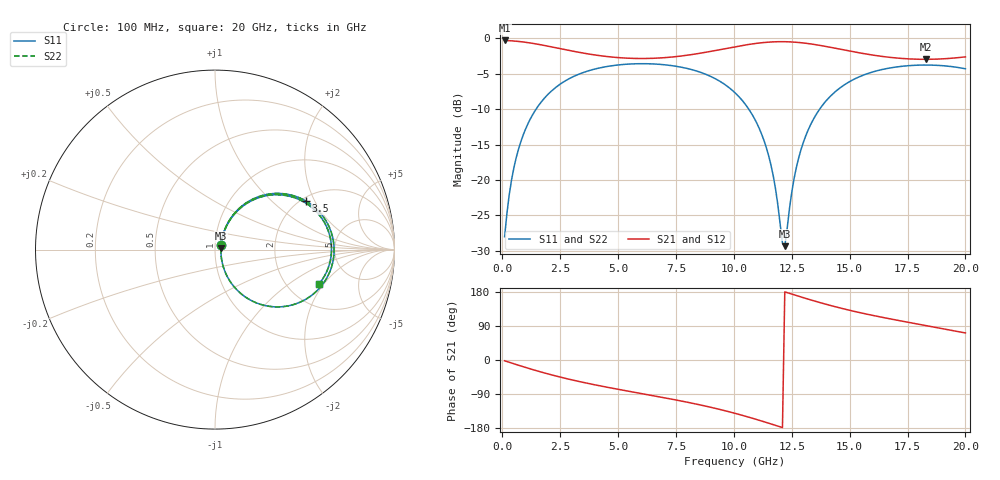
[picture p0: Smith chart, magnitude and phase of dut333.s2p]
! Touchstone file exported from HFSS 2026.1.0
!  File:  C:/ffzhzh/LocalFiles/Ansys_Project_Files/temp_train_TSV_RDL_333_1783033680_55676.aedt
!  Generated:  07:29:34 AM Jul  3, 2026
!  Design:  TSV_RDL
!  Project:  temp_train_TSV_RDL_333_1783033680_55676
! Variables:
!  h_bsmrdl = 2.34um
!  h_ox = 20um
!  h_rdl = 5um
!  h_sub = 69.7um
!  h_tmrdl = 4.4um
!  h_tsv = 69.7um
!  h_via = 3um
!  l_bsmrdl = 258.03um
!  l_sub = 5140.06um
!  l_tmrdl = 961.14um
!  m_sub = 200um
!  pitch = 59.6um
!  r_tsv = 2.29um
!  s_tmrdl = 10um
!  w_bsmrdl = 21.49um
!  w_sub = 500um
!  w_tmrdl = 18.98um
!  x_tsv_center1 = 970.63um
!  x_tsv_center2 = 1250.15um
!  x_tsv_center3 = 2230.27um
!  x_tsv_center4 = 2509.79um
!  x_tsv_center5 = 3489.91um
!  x_tsv_center6 = 3769.43um
# GHz S MA R 50.000000
! Terminal data exported
! Port[1] = TM_RDL1_1_T1
! Port[2] = TM_RDL5_1_T1
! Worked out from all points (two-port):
!   200 points, 100 MHz to 20 GHz, reference 50 ohm
!   highest |S21| = -0.28 dB at 100 MHz (marker M1); lowest = -2.9 dB at 18.3 GHz (marker M2)
!   |S21| within 3 dB of the highest: start of sweep to end of sweep
!   lowest |S11| = -29.3 dB at 12.2 GHz (marker M3), VSWR 1.07, Z = 53.4 + j0.812 ohm
!   |S11| at or under -10 dB: start of sweep to 1.457 GHz; 10.65 GHz to 13.7 GHz (3.056 GHz wide, 25.1 % of centre)
!   |S22| runs from -29.4 to -3.6 dB; largest |S21 - S12| = 1.4e-14
!   S11 on the Smith chart (normalised r, x): 100 MHz: 1.07, +0.05; 3.5 GHz: 2.13, +1.71; 20 GHz: 2.95, -1.79
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0.1  0.03979 35.9  0.9683 -2.0  0.9683 -2.0  0.03979 35.9
! Gamma 0 0 0 0
! Port Impedance 50 0 50 0
0.3  0.07884 59.4  0.9647 -6.1  0.9647 -6.1  0.07884 59.4
0.5  0.122 64.1  0.9596 -10.0  0.9596 -10.0  0.122 64.1
1.1  0.2483 60.7  0.9352 -21.4  0.9352 -21.4  0.2483 60.7
2.1  0.422 46.8  0.8741 -38.8  0.8741 -38.8  0.422 46.8
3.5  0.5751 28.0  0.7882 -59.2  0.7882 -59.2  0.5751 28.0
5.1  0.6525 9.6  0.7307 -78.5  0.7307 -78.5  0.6525 9.6
6.8  0.6565 -8.5  0.7282 -97.4  0.7282 -97.4  0.6565 -8.5
8.7  0.5659 -30.4  0.7945 -120.6  0.7945 -120.6  0.5659 -30.4
10.1  0.4062 -49.4  0.8765 -141.5  0.8765 -141.5  0.4062 -49.4
10.8  0.2885 -59.2  0.9156 -153.6  0.9156 -153.6  0.2885 -59.2
11.4  0.17 -65.4  0.9395 -164.8  0.9395 -164.8  0.17 -65.5
11.8  0.08679 -61.7  0.9479 -172.5  0.9479 -172.5  0.08669 -61.9
12.1  0.03576 -22.3  0.9494 -178.3  0.9494 -178.3  0.03553 -22.4
12.2  0.03411 12.9  0.949 179.8  0.949 179.8  0.03387 13.0
12.5  0.08181 58.9  0.945 174.0  0.945 174.0  0.08172 59.1
12.7  0.1227 63.4  0.9401 170.1  0.9401 170.1  0.1227 63.5
13.4  0.262 59.1  0.9112 157.1  0.9112 157.1  0.2619 59.2
14.7  0.462 41.4  0.8335 135.6  0.8335 135.6  0.462 41.5
16.7  0.6174 17.0  0.7368 109.1  0.7368 109.1  0.6174 17.1
18.3  0.6492 -0.0  0.7124 90.9  0.7124 90.9  0.6492 0.0
20  0.6109 -18.2  0.7416 71.4  0.7416 71.4  0.6109 -18.1
